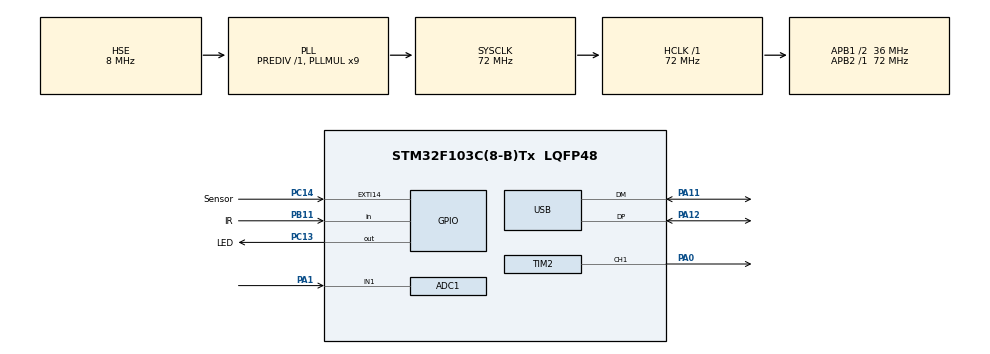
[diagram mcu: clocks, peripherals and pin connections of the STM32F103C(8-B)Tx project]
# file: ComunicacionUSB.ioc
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ADC1.ContinuousConvMode=ENABLE
ADC1.EnableRegularConversion=DISABLE
ADC1.master=1
Mcu.Family=STM32F1
Mcu.Name=STM32F103C(8-B)Tx
Mcu.Package=LQFP48
NVIC.ADC1_2_IRQn=true\:0\:0\:false\:false\:true\:true\:true
NVIC.EXTI15_10_IRQn=true\:0\:0\:false\:false\:true\:true\:true
NVIC.PriorityGroup=NVIC_PRIORITYGROUP_4
NVIC.TIM4_IRQn=true\:0\:0\:false\:false\:true\:true\:true
NVIC.USB_LP_CAN1_RX0_IRQn=true\:0\:0\:false\:false\:true\:true\:true
PA0-WKUP.Signal=S_TIM2_CH1_ETR
PA1.Signal=ADCx_IN1
PA11.Mode=Device
PA11.Signal=USB_DM
PA12.Mode=Device
PA12.Signal=USB_DP
PA13.Mode=Serial_Wire
PA13.Signal=SYS_JTMS-SWDIO
PA14.Mode=Serial_Wire
PA14.Signal=SYS_JTCK-SWCLK
PB11.GPIO_Label=IR
PB11.Signal=GPIO_Input
PC13-TAMPER-RTC.GPIO_Label=LED
PC13-TAMPER-RTC.GPIO_ModeDefaultOutputPP=GPIO_MODE_OUTPUT_PP
PC13-TAMPER-RTC.PinState=GPIO_PIN_SET
PC13-TAMPER-RTC.Signal=GPIO_Output
PC14-OSC32_IN.GPIO_Label=Sensor
PC14-OSC32_IN.GPIO_PuPd=GPIO_PULLUP
PC14-OSC32_IN.Signal=GPXTI14
PD0-OSC_IN.Mode=HSE-External-Oscillator
PD0-OSC_IN.Signal=RCC_OSC_IN
PD1-OSC_OUT.Mode=HSE-External-Oscillator
PD1-OSC_OUT.Signal=RCC_OSC_OUT
ProjectManager.HeapSize=0x200
ProjectManager.StackSize=0x400
ProjectManager.TargetToolchain=STM32CubeIDE
RCC.ADCPresc=RCC_ADCPCLK2_DIV6
RCC.AHBFreq_Value=72000000
RCC.APB1CLKDivider=RCC_HCLK_DIV2
RCC.APB1Freq_Value=36000000
RCC.APB1TimFreq_Value=72000000
RCC.APB2Freq_Value=72000000
RCC.APB2TimFreq_Value=72000000
RCC.HCLKFreq_Value=72000000
RCC.PLLMUL=RCC_PLL_MUL9
RCC.PLLSourceVirtual=RCC_PLLSOURCE_HSE
RCC.SYSCLKFreq_VALUE=72000000
RCC.SYSCLKSource=RCC_SYSCLKSOURCE_PLLCLK
RCC.USBFreq_Value=48000000
RCC.USBPrescaler=RCC_USBCLKSOURCE_PLL_DIV1_5
SH.ADCx_IN1.0=ADC1_IN1,IN1
SH.S_TIM2_CH1_ETR.0=TIM2_CH1,PWM Generation1 CH1
TIM2.Channel-PWM\ Generation1\ CH1=TIM_CHANNEL_1
TIM2.Period=100
TIM2.Prescaler=720
TIM4.AutoReloadPreload=TIM_AUTORELOAD_PRELOAD_DISABLE
TIM4.Period=2
TIM4.Prescaler=36000
USB_DEVICE.CLASS_NAME_FS=CDC
USB_DEVICE.VID=1155
USB_DEVICE.VirtualMode=Cdc
USB_DEVICE.VirtualModeFS=Cdc_FS
VP_TIM2_VS_ClockSourceINT.Mode=Internal
VP_TIM4_VS_ClockSourceINT.Mode=Internal
VP_TIM4_VS_ClockSourceITR.Mode=TriggerSource_ITR0
VP_USB_DEVICE_VS_USB_DEVICE_CDC_FS.Mode=CDC_FS
board=custom

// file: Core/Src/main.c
/* USER CODE BEGIN Header */
/**
  ******************************************************************************
  * @file           : main.c
  * @brief          : Main program body
  ******************************************************************************
  * @attention
  *
  * Copyright (c) 2022 STMicroelectronics.
  * All rights reserved.
  *
  * This software is licensed under terms that can be found in the LICENSE file
  * in the root directory of this software component.
  * If no LICENSE file comes with this software, it is provided AS-IS.
  *
  ******************************************************************************
  */
/* USER CODE END Header */
#include "main.h"
#include "usb_device.h"

/* USER CODE BEGIN Includes */
#include "usbd_cdc_if.h"
/* USER CODE END Includes */

ADC_HandleTypeDef hadc1;

TIM_HandleTypeDef htim2;
TIM_HandleTypeDef htim4;

/* USER CODE BEGIN PV */
uint8_t contador = 0;
unsigned char cont2, cont3, datpar,tam,paridad;
unsigned int rpm, aux,i, tiempo_actual,tiempo_anterior, delta, valorADC;

uint8_t texto[32];
uint8_t texto1[32];
unsigned char arr[32];
unsigned char tamaux[5];
unsigned char arrdat[32];
unsigned char arrpar[32];
volatile unsigned int valorPWM=0;;
volatile unsigned int cont1=0;
unsigned char env[32];
int dat1,dat2,dat3,dat4;

/* USER CODE END PV */

void SystemClock_Config(void);
static void MX_GPIO_Init(void);
static void MX_TIM2_Init(void);
static void MX_TIM4_Init(void);
static void MX_ADC1_Init(void);

int main(void)
{

  /* MCU Configuration--------------------------------------------------------*/

  /* Reset of all peripherals, Initializes the Flash interface and the Systick. */
  HAL_Init();

  /* Configure the system clock */
  SystemClock_Config();

  /* Initialize all configured peripherals */
  MX_GPIO_Init();
  MX_USB_DEVICE_Init();
  MX_TIM2_Init();
  MX_TIM4_Init();
  MX_ADC1_Init();
  /* USER CODE BEGIN 2 */

  HAL_TIM_PWM_Start(&htim2, TIM_CHANNEL_1);
  HAL_TIM_Base_Start_IT(&htim4);
  HAL_ADC_Start(&hadc1);
  TIM2->CCR1 = 50;
  /* USER CODE END 2 */

  /* Infinite loop */
  /* USER CODE BEGIN WHILE */
  while (1)
  {

	  valorADC = HAL_ADC_GetValue(&hadc1);
	  /*sprintf(texto,"El contador es %d",contador);
	  CDC_Transmit_FS(texto,strlen(texto));
	  contador++;*/
	  HAL_Delay(1000);
    /* USER CODE END WHILE */

  }
}

void SystemClock_Config(void)
{
  RCC_OscInitTypeDef RCC_OscInitStruct = {0};
  RCC_ClkInitTypeDef RCC_ClkInitStruct = {0};
  RCC_PeriphCLKInitTypeDef PeriphClkInit = {0};

  /** Initializes the RCC Oscillators according to the specified parameters
  * in the RCC_OscInitTypeDef structure.
  */
  RCC_OscInitStruct.OscillatorType = RCC_OSCILLATORTYPE_HSE;
  RCC_OscInitStruct.HSEState = RCC_HSE_ON;
  RCC_OscInitStruct.HSEPredivValue = RCC_HSE_PREDIV_DIV1;
  RCC_OscInitStruct.HSIState = RCC_HSI_ON;
  RCC_OscInitStruct.PLL.PLLState = RCC_PLL_ON;
  RCC_OscInitStruct.PLL.PLLSource = RCC_PLLSOURCE_HSE;
  RCC_OscInitStruct.PLL.PLLMUL = RCC_PLL_MUL9;
  if (HAL_RCC_OscConfig(&RCC_OscInitStruct) != HAL_OK)
  {
    Error_Handler();
  }
  /** Initializes the CPU, AHB and APB buses clocks
  */
  RCC_ClkInitStruct.ClockType = RCC_CLOCKTYPE_HCLK|RCC_CLOCKTYPE_SYSCLK
                              |RCC_CLOCKTYPE_PCLK1|RCC_CLOCKTYPE_PCLK2;
  RCC_ClkInitStruct.SYSCLKSource = RCC_SYSCLKSOURCE_PLLCLK;
  RCC_ClkInitStruct.AHBCLKDivider = RCC_SYSCLK_DIV1;
  RCC_ClkInitStruct.APB1CLKDivider = RCC_HCLK_DIV2;
  RCC_ClkInitStruct.APB2CLKDivider = RCC_HCLK_DIV1;

  if (HAL_RCC_ClockConfig(&RCC_ClkInitStruct, FLASH_LATENCY_2) != HAL_OK)
  {
    Error_Handler();
  }
  PeriphClkInit.PeriphClockSelection = RCC_PERIPHCLK_ADC|RCC_PERIPHCLK_USB;
  PeriphClkInit.AdcClockSelection = RCC_ADCPCLK2_DIV6;
  PeriphClkInit.UsbClockSelection = RCC_USBCLKSOURCE_PLL_DIV1_5;
  if (HAL_RCCEx_PeriphCLKConfig(&PeriphClkInit) != HAL_OK)
  {
    Error_Handler();
  }
}

static void MX_ADC1_Init(void)
{

  /** Common config
  */
  hadc1.Instance = ADC1;
  hadc1.Init.ScanConvMode = ADC_SCAN_DISABLE;
  hadc1.Init.ContinuousConvMode = ENABLE;
  hadc1.Init.DiscontinuousConvMode = DISABLE;
  hadc1.Init.ExternalTrigConv = ADC_SOFTWARE_START;
  hadc1.Init.DataAlign = ADC_DATAALIGN_RIGHT;
  hadc1.Init.NbrOfConversion = 1;
  if (HAL_ADC_Init(&hadc1) != HAL_OK)
  {
    Error_Handler();
  }

}

static void MX_TIM2_Init(void)
{

  TIM_ClockConfigTypeDef sClockSourceConfig = {0};
  TIM_MasterConfigTypeDef sMasterConfig = {0};
  TIM_OC_InitTypeDef sConfigOC = {0};

  htim2.Instance = TIM2;
  htim2.Init.Prescaler = 720;
  htim2.Init.CounterMode = TIM_COUNTERMODE_UP;
  htim2.Init.Period = 100;
  htim2.Init.ClockDivision = TIM_CLOCKDIVISION_DIV1;
  htim2.Init.AutoReloadPreload = TIM_AUTORELOAD_PRELOAD_DISABLE;
  if (HAL_TIM_Base_Init(&htim2) != HAL_OK)
  {
    Error_Handler();
  }
  sClockSourceConfig.ClockSource = TIM_CLOCKSOURCE_INTERNAL;
  if (HAL_TIM_ConfigClockSource(&htim2, &sClockSourceConfig) != HAL_OK)
  {
    Error_Handler();
  }
  if (HAL_TIM_PWM_Init(&htim2) != HAL_OK)
  {
    Error_Handler();
  }
  sMasterConfig.MasterOutputTrigger = TIM_TRGO_RESET;
  sMasterConfig.MasterSlaveMode = TIM_MASTERSLAVEMODE_DISABLE;
  if (HAL_TIMEx_MasterConfigSynchronization(&htim2, &sMasterConfig) != HAL_OK)
  {
    Error_Handler();
  }
  sConfigOC.OCMode = TIM_OCMODE_PWM1;
  sConfigOC.Pulse = 0;
  sConfigOC.OCPolarity = TIM_OCPOLARITY_HIGH;
  sConfigOC.OCFastMode = TIM_OCFAST_DISABLE;
  if (HAL_TIM_PWM_ConfigChannel(&htim2, &sConfigOC, TIM_CHANNEL_1) != HAL_OK)
  {
    Error_Handler();
  }
  HAL_TIM_MspPostInit(&htim2);

}

static void MX_TIM4_Init(void)
{

  TIM_ClockConfigTypeDef sClockSourceConfig = {0};
  TIM_SlaveConfigTypeDef sSlaveConfig = {0};
  TIM_MasterConfigTypeDef sMasterConfig = {0};

  htim4.Instance = TIM4;
  htim4.Init.Prescaler = 36000;
  htim4.Init.CounterMode = TIM_COUNTERMODE_UP;
  htim4.Init.Period = 2;
  htim4.Init.ClockDivision = TIM_CLOCKDIVISION_DIV1;
  htim4.Init.AutoReloadPreload = TIM_AUTORELOAD_PRELOAD_DISABLE;
  if (HAL_TIM_Base_Init(&htim4) != HAL_OK)
  {
    Error_Handler();
  }
  sClockSourceConfig.ClockSource = TIM_CLOCKSOURCE_INTERNAL;
  if (HAL_TIM_ConfigClockSource(&htim4, &sClockSourceConfig) != HAL_OK)
  {
    Error_Handler();
  }
  sSlaveConfig.SlaveMode = TIM_SLAVEMODE_DISABLE;
  sSlaveConfig.InputTrigger = TIM_TS_ITR0;
  if (HAL_TIM_SlaveConfigSynchro(&htim4, &sSlaveConfig) != HAL_OK)
  {
    Error_Handler();
  }
  sMasterConfig.MasterOutputTrigger = TIM_TRGO_RESET;
  sMasterConfig.MasterSlaveMode = TIM_MASTERSLAVEMODE_DISABLE;
  if (HAL_TIMEx_MasterConfigSynchronization(&htim4, &sMasterConfig) != HAL_OK)
  {
    Error_Handler();
  }

}

static void MX_GPIO_Init(void)
{
  GPIO_InitTypeDef GPIO_InitStruct = {0};

  /* GPIO Ports Clock Enable */
  __HAL_RCC_GPIOC_CLK_ENABLE();
  __HAL_RCC_GPIOD_CLK_ENABLE();
  __HAL_RCC_GPIOA_CLK_ENABLE();
  __HAL_RCC_GPIOB_CLK_ENABLE();

  /*Configure GPIO pin Output Level */
  HAL_GPIO_WritePin(LED_GPIO_Port, LED_Pin, GPIO_PIN_SET);

  /*Configure GPIO pin : LED_Pin */
  GPIO_InitStruct.Pin = LED_Pin;
  GPIO_InitStruct.Mode = GPIO_MODE_OUTPUT_PP;
  GPIO_InitStruct.Pull = GPIO_NOPULL;
  GPIO_InitStruct.Speed = GPIO_SPEED_FREQ_LOW;
  HAL_GPIO_Init(LED_GPIO_Port, &GPIO_InitStruct);

  /*Configure GPIO pin : Sensor_Pin */
  GPIO_InitStruct.Pin = Sensor_Pin;
  GPIO_InitStruct.Mode = GPIO_MODE_IT_RISING;
  GPIO_InitStruct.Pull = GPIO_PULLUP;
  HAL_GPIO_Init(Sensor_GPIO_Port, &GPIO_InitStruct);

  /*Configure GPIO pin : IR_Pin */
  GPIO_InitStruct.Pin = IR_Pin;
  GPIO_InitStruct.Mode = GPIO_MODE_INPUT;
  GPIO_InitStruct.Pull = GPIO_NOPULL;
  HAL_GPIO_Init(IR_GPIO_Port, &GPIO_InitStruct);

  /* EXTI interrupt init*/
  HAL_NVIC_SetPriority(EXTI15_10_IRQn, 0, 0);
  HAL_NVIC_EnableIRQ(EXTI15_10_IRQn);

}

/* USER CODE BEGIN 4 */

void CDC_Receive_Callback(uint8_t* Buf, uint32_t Len)
{

	if(Buf[0]=='a'){
		enviarPro();
	}
	else{
		memcpy(arr,Buf,Len);
		if(arr[0]=='2'){
			memset(tamaux,0,5);
			tamaux[0]=arr[1];
			tamaux[1]=arr[2];
			tamaux[2]=arr[3];
			tam=atoi(tamaux);
			if(arr[tam-1]=='3'){
				memset(arrdat,0,32);
				memset(arrpar,0,32);

				for(i=4;i<((tam-1-4)/2)+4;i++){
					arrdat[i-4]=arr[i];
				}
				aux=0;
				for(i=((tam-1-4)/2)+4;i<tam-1;i++){
					arrpar[aux]=arr[i];
					aux++;
				}
				valorPWM=atoi(arrdat);
				paridad=atoi(arrpar);
				if(paridad==valorPWM+5){
					TIM2->CCR1=valorPWM;
				}

			}
		}
		memset(arr,0,32);
	}

}
void HAL_TIM_PeriodElapsedCallback(TIM_HandleTypeDef *htim)
{
	if(htim->Instance == TIM4){

	}
}

void HAL_GPIO_EXTI_Callback(uint16_t GPIO_Pin)
{
	if(GPIO_Pin == Sensor_Pin){
		tiempo_anterior=tiempo_actual;
		tiempo_actual=HAL_GetTick();
		rpm=30000/(tiempo_actual-tiempo_anterior);
	}
}

void enviarPro()
{
	data();
	env[0]=0x02;
	env[1]=0x04;
	env[2]=dat1;
	env[3]=dat2;
	env[4]=dat3;
	env[5]=dat4;
	env[6]=env[0]+env[2]+env[3]+env[4]+env[5] + 0x03;
	env[7]=0x03;

	CDC_Transmit_FS(env,33);
	memset(env,0,33);

}

void data(){
	dat1=rpm>>24;
	dat2=rpm>>16;
	dat3=rpm>>8;
	dat4=rpm;
}

/* USER CODE END 4 */

void Error_Handler(void)
{
  __disable_irq();
  while (1)
  {
  }
}
